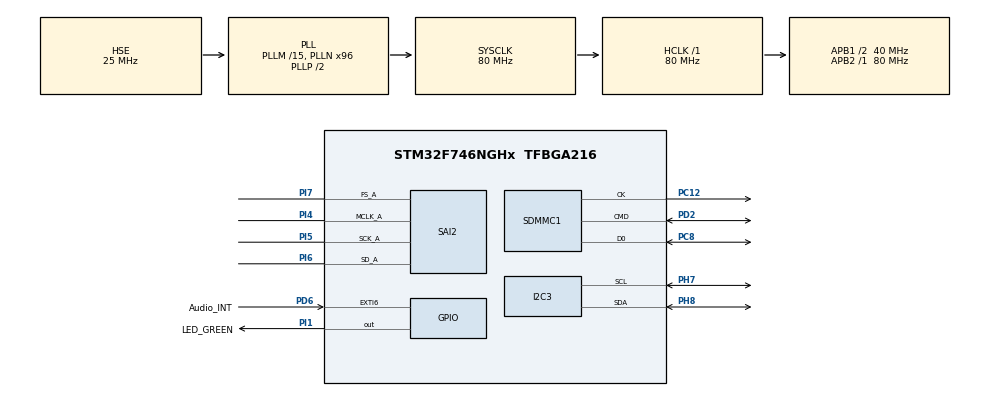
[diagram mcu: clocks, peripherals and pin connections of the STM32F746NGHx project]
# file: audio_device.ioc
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Dma.Request0=SDMMC1
Dma.SDMMC1.0.Direction=DMA_PERIPH_TO_MEMORY
Dma.SDMMC1.0.FIFOMode=DMA_FIFOMODE_ENABLE
Dma.SDMMC1.0.FIFOThreshold=DMA_FIFO_THRESHOLD_FULL
Dma.SDMMC1.0.Instance=DMA2_Stream3
Dma.SDMMC1.0.MemBurst=DMA_MBURST_INC4
Dma.SDMMC1.0.MemDataAlignment=DMA_MDATAALIGN_WORD
Dma.SDMMC1.0.MemInc=DMA_MINC_ENABLE
Dma.SDMMC1.0.Mode=DMA_PFCTRL
Dma.SDMMC1.0.PeriphBurst=DMA_PBURST_INC4
Dma.SDMMC1.0.PeriphDataAlignment=DMA_PDATAALIGN_WORD
Dma.SDMMC1.0.PeriphInc=DMA_PINC_DISABLE
Dma.SDMMC1.0.Priority=DMA_PRIORITY_LOW
FATFS.USE_DMA_CODE_SD=1
FATFS._FS_LOCK=10
FATFS._MAX_SS=1024
FATFS._MIN_SS=512
FATFS._USE_FIND=1
FATFS._USE_LFN=0
FATFS._USE_MUTEX=1
FREERTOS.BinarySemaphores01=DirReadSemaphore,Dynamic,NULL
FREERTOS.Mutexes01=FS_capture,Dynamic,NULL
FREERTOS.Tasks01=defaultTask,24,128,StartDefaultTask,Default,NULL,Dynamic,NULL,NULL;LedBlink,8,128,StartLedBlink,Default,NULL,Dynamic,NULL,NULL;FS_Task,8,1024,StartFS_Task,Default,NULL,Dynamic,NULL,NULL
FREERTOS.configUSE_NEWLIB_REENTRANT=1
I2C3.Timing=0x00909BEB
Mcu.Family=STM32F7
Mcu.Name=STM32F746NGHx
Mcu.Package=TFBGA216
NVIC.DMA2_Stream3_IRQn=true\:5\:0\:false\:false\:true\:true\:false\:true\:true
NVIC.PriorityGroup=NVIC_PRIORITYGROUP_4
NVIC.SAI2_IRQn=true\:5\:0\:false\:false\:true\:true\:true\:true\:true
NVIC.SDMMC1_IRQn=true\:5\:0\:false\:false\:true\:true\:true\:true\:true
NVIC.TIM1_UP_TIM10_IRQn=true\:5\:0\:false\:false\:true\:true\:true\:true\:true
PA13.Mode=Serial_Wire
PA13.Signal=SYS_JTMS-SWDIO
PA14.Mode=Serial_Wire
PA14.Signal=SYS_JTCK-SWCLK
PC12.Mode=SD_1_bit
PC12.Signal=SDMMC1_CK
PC14/OSC32_IN.Mode=LSE-External-Oscillator
PC14/OSC32_IN.Signal=RCC_OSC32_IN
PC15/OSC32_OUT.Mode=LSE-External-Oscillator
PC15/OSC32_OUT.Signal=RCC_OSC32_OUT
PC8.Mode=SD_1_bit
PC8.Signal=SDMMC1_D0
PD2.Mode=SD_1_bit
PD2.Signal=SDMMC1_CMD
PD6.GPIO_Label=Audio_INT
PD6.Signal=GPXTI6
PG10.Signal=SAI2_SD_B
PH0/OSC_IN.Mode=HSE-External-Oscillator
PH0/OSC_IN.Signal=RCC_OSC_IN
PH1/OSC_OUT.Mode=HSE-External-Oscillator
PH1/OSC_OUT.Signal=RCC_OSC_OUT
PH7.Mode=I2C
PH7.Signal=I2C3_SCL
PH8.Mode=I2C
PH8.Signal=I2C3_SDA
PI1.GPIO_Label=LED_GREEN
PI1.GPIO_Speed=GPIO_SPEED_FREQ_MEDIUM
PI1.PinState=GPIO_PIN_RESET
PI1.Signal=GPIO_Output
PI4.Mode=SAI_A_MasterWithClock
PI4.Signal=SAI2_MCLK_A
PI5.Mode=SAI_A_MasterWithClock
PI5.Signal=SAI2_SCK_A
PI6.Mode=SAI_A_MasterWithClock
PI6.Signal=SAI2_SD_A
PI7.Mode=SAI_A_MasterWithClock
PI7.Signal=SAI2_FS_A
ProjectManager.HeapSize=0x2000
ProjectManager.StackSize=0x10000
ProjectManager.TargetToolchain=STM32CubeIDE
RCC.AHBFreq_Value=80000000
RCC.APB1CLKDivider=RCC_HCLK_DIV2
RCC.APB1Freq_Value=40000000
RCC.APB1TimFreq_Value=80000000
RCC.APB2Freq_Value=80000000
RCC.APB2TimFreq_Value=80000000
RCC.CortexFreq_Value=80000000
RCC.HCLKFreq_Value=80000000
RCC.HSE_VALUE=25000000
RCC.HSI_VALUE=16000000
RCC.PLLM=15
RCC.PLLN=96
RCC.PLLQ=10
RCC.PLLSourceVirtual=RCC_PLLSOURCE_HSE
RCC.RTCClockSelection=RCC_RTCCLKSOURCE_LSE
RCC.SDMMCClockSelection=RCC_SDMMC1CLKSOURCE_CLK48
RCC.SYSCLKFreq_VALUE=80000000
RCC.SYSCLKSource=RCC_SYSCLKSOURCE_PLLCLK
RCC.USBFreq_Value=16000000
RCC.VCOOutputFreq_Value=160000000
SAI2.AudioFrequency-SAI_A_MasterWithClock=SAI_AUDIO_FREQUENCY_44K
SAI2.ErrorAudioFreq-SAI_A_MasterWithClock=1.45 %
SAI2.Instance-SAI_A_MasterWithClock=SAI$Index_Block_A
SAI2.MClockEnable-SAI_A_MasterWithClock=SAI_MASTERCLOCK_ENABLE
SAI2.OutputDrive-SAI_A_MasterWithClock=SAI_OUTPUTDRIVE_DISABLE
SAI2.RealAudioFreq-SAI_A_MasterWithClock=44.642 KHz
SAI2.VirtualMode-SAI_A_MasterWithClock=VM_MASTER
TIM1.Channel-Output\ Compare1\ No\ Output=TIM_CHANNEL_1
TIM1.Period=906
TIM1.Prescaler=2
VP_FATFS_VS_SDIO.Mode=SDIO
VP_FREERTOS_VS_CMSIS_V2.Mode=CMSIS_V2
VP_RTC_VS_RTC_Activate.Mode=RTC_Enabled
VP_TIM1_VS_no_output1.Mode=Output Compare1 No Output
board=custom

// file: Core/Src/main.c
/* USER CODE BEGIN Header */
/**
  ******************************************************************************
  * @file           : main.c
  * @brief          : Main program body
  ******************************************************************************
  * @attention
  *
  * Copyright (c) 2022 STMicroelectronics.
  * All rights reserved.
  *
  * This software is licensed under terms that can be found in the LICENSE file
  * in the root directory of this software component.
  * If no LICENSE file comes with this software, it is provided AS-IS.
  *
  ******************************************************************************
  */
/* USER CODE END Header */
#include "main.h"
#include "cmsis_os.h"
#include "fatfs.h"

/* USER CODE BEGIN Includes */
#include "WM8994_driver.h"
/* USER CODE END Includes */

I2C_HandleTypeDef hi2c3;

RTC_HandleTypeDef hrtc;

SAI_HandleTypeDef hsai_BlockA2;

SD_HandleTypeDef hsd1;
DMA_HandleTypeDef hdma_sdmmc1;

TIM_HandleTypeDef htim1;

/* Definitions for defaultTask */
osThreadId_t defaultTaskHandle;
const osThreadAttr_t defaultTask_attributes = {
  .name = "defaultTask",
  .stack_size = 128 * 4,
  .priority = (osPriority_t) osPriorityNormal,
};
/* Definitions for LedBlink */
osThreadId_t LedBlinkHandle;
const osThreadAttr_t LedBlink_attributes = {
  .name = "LedBlink",
  .stack_size = 128 * 4,
  .priority = (osPriority_t) osPriorityLow,
};
/* Definitions for FS_Task */
osThreadId_t FS_TaskHandle;
const osThreadAttr_t FS_Task_attributes = {
  .name = "FS_Task",
  .stack_size = 1024 * 4,
  .priority = (osPriority_t) osPriorityLow,
};
/* Definitions for FS_capture */
osMutexId_t FS_captureHandle;
const osMutexAttr_t FS_capture_attributes = {
  .name = "FS_capture"
};
/* Definitions for DirReadSemaphore */
osSemaphoreId_t DirReadSemaphoreHandle;
const osSemaphoreAttr_t DirReadSemaphore_attributes = {
  .name = "DirReadSemaphore"
};
/* USER CODE BEGIN PV */
FATFS FatFs; 	//Fatfs handle
/* USER CODE END PV */

void SystemClock_Config(void);
static void MX_GPIO_Init(void);
static void MX_SDMMC1_SD_Init(void);
static void MX_RTC_Init(void);
static void MX_SAI2_Init(void);
static void MX_DMA_Init(void);
static void MX_I2C3_Init(void);
static void MX_TIM1_Init(void);
void StartDefaultTask(void *argument);
void StartLedBlink(void *argument);
void StartFS_Task(void *argument);

int main(void)
{

  /* MCU Configuration--------------------------------------------------------*/

  /* Reset of all peripherals, Initializes the Flash interface and the Systick. */
  HAL_Init();

  /* Configure the system clock */
  SystemClock_Config();

  /* Initialize all configured peripherals */
  MX_GPIO_Init();
  MX_SDMMC1_SD_Init();
  MX_FATFS_Init();
  MX_RTC_Init();
  MX_SAI2_Init();
  MX_DMA_Init();
  MX_I2C3_Init();
  MX_TIM1_Init();
  /* USER CODE BEGIN 2 */
//  HAL_TIM_Base_Start_IT(&htim1);
  WM8994_init();
  /* USER CODE END 2 */

  /* Init scheduler */
  osKernelInitialize();
  /* Create the mutex(es) */
  /* creation of FS_capture */
  FS_captureHandle = osMutexNew(&FS_capture_attributes);

  /* Create the semaphores(s) */
  /* creation of DirReadSemaphore */
  DirReadSemaphoreHandle = osSemaphoreNew(1, 1, &DirReadSemaphore_attributes);

  /* Create the thread(s) */
  /* creation of defaultTask */
  defaultTaskHandle = osThreadNew(StartDefaultTask, NULL, &defaultTask_attributes);

  /* creation of LedBlink */
  LedBlinkHandle = osThreadNew(StartLedBlink, NULL, &LedBlink_attributes);

  /* creation of FS_Task */
  FS_TaskHandle = osThreadNew(StartFS_Task, NULL, &FS_Task_attributes);

  /* Start scheduler */
  osKernelStart();

  /* We should never get here as control is now taken by the scheduler */
  /* Infinite loop */
  while (1)
  {

  }
}

void SystemClock_Config(void)
{
  RCC_OscInitTypeDef RCC_OscInitStruct = {0};
  RCC_ClkInitTypeDef RCC_ClkInitStruct = {0};

  /** Configure LSE Drive Capability
  */
  HAL_PWR_EnableBkUpAccess();
  __HAL_RCC_LSEDRIVE_CONFIG(RCC_LSEDRIVE_LOW);

  /** Configure the main internal regulator output voltage
  */
  __HAL_RCC_PWR_CLK_ENABLE();
  __HAL_PWR_VOLTAGESCALING_CONFIG(PWR_REGULATOR_VOLTAGE_SCALE3);

  /** Initializes the RCC Oscillators according to the specified parameters
  * in the RCC_OscInitTypeDef structure.
  */
  RCC_OscInitStruct.OscillatorType = RCC_OSCILLATORTYPE_HSE|RCC_OSCILLATORTYPE_LSE;
  RCC_OscInitStruct.HSEState = RCC_HSE_ON;
  RCC_OscInitStruct.LSEState = RCC_LSE_ON;
  RCC_OscInitStruct.PLL.PLLState = RCC_PLL_ON;
  RCC_OscInitStruct.PLL.PLLSource = RCC_PLLSOURCE_HSE;
  RCC_OscInitStruct.PLL.PLLM = 15;
  RCC_OscInitStruct.PLL.PLLN = 96;
  RCC_OscInitStruct.PLL.PLLP = RCC_PLLP_DIV2;
  RCC_OscInitStruct.PLL.PLLQ = 10;
  if (HAL_RCC_OscConfig(&RCC_OscInitStruct) != HAL_OK)
  {
    Error_Handler();
  }

  /** Initializes the CPU, AHB and APB buses clocks
  */
  RCC_ClkInitStruct.ClockType = RCC_CLOCKTYPE_HCLK|RCC_CLOCKTYPE_SYSCLK
                              |RCC_CLOCKTYPE_PCLK1|RCC_CLOCKTYPE_PCLK2;
  RCC_ClkInitStruct.SYSCLKSource = RCC_SYSCLKSOURCE_PLLCLK;
  RCC_ClkInitStruct.AHBCLKDivider = RCC_SYSCLK_DIV1;
  RCC_ClkInitStruct.APB1CLKDivider = RCC_HCLK_DIV2;
  RCC_ClkInitStruct.APB2CLKDivider = RCC_HCLK_DIV1;

  if (HAL_RCC_ClockConfig(&RCC_ClkInitStruct, FLASH_LATENCY_2) != HAL_OK)
  {
    Error_Handler();
  }
}

static void MX_I2C3_Init(void)
{

  hi2c3.Instance = I2C3;
  hi2c3.Init.Timing = 0x00909BEB;
  hi2c3.Init.OwnAddress1 = 0;
  hi2c3.Init.AddressingMode = I2C_ADDRESSINGMODE_7BIT;
  hi2c3.Init.DualAddressMode = I2C_DUALADDRESS_DISABLE;
  hi2c3.Init.OwnAddress2 = 0;
  hi2c3.Init.OwnAddress2Masks = I2C_OA2_NOMASK;
  hi2c3.Init.GeneralCallMode = I2C_GENERALCALL_DISABLE;
  hi2c3.Init.NoStretchMode = I2C_NOSTRETCH_DISABLE;
  if (HAL_I2C_Init(&hi2c3) != HAL_OK)
  {
    Error_Handler();
  }

  /** Configure Analogue filter
  */
  if (HAL_I2CEx_ConfigAnalogFilter(&hi2c3, I2C_ANALOGFILTER_ENABLE) != HAL_OK)
  {
    Error_Handler();
  }

  /** Configure Digital filter
  */
  if (HAL_I2CEx_ConfigDigitalFilter(&hi2c3, 0) != HAL_OK)
  {
    Error_Handler();
  }

}

static void MX_RTC_Init(void)
{

  /** Initialize RTC Only
  */
  hrtc.Instance = RTC;
  hrtc.Init.HourFormat = RTC_HOURFORMAT_24;
  hrtc.Init.AsynchPrediv = 127;
  hrtc.Init.SynchPrediv = 255;
  hrtc.Init.OutPut = RTC_OUTPUT_DISABLE;
  hrtc.Init.OutPutPolarity = RTC_OUTPUT_POLARITY_HIGH;
  hrtc.Init.OutPutType = RTC_OUTPUT_TYPE_OPENDRAIN;
  if (HAL_RTC_Init(&hrtc) != HAL_OK)
  {
    Error_Handler();
  }

}

static void MX_SAI2_Init(void)
{

  hsai_BlockA2.Instance = SAI2_Block_A;
  hsai_BlockA2.Init.Protocol = SAI_FREE_PROTOCOL;
  hsai_BlockA2.Init.AudioMode = SAI_MODEMASTER_TX;
  hsai_BlockA2.Init.DataSize = SAI_DATASIZE_8;
  hsai_BlockA2.Init.FirstBit = SAI_FIRSTBIT_MSB;
  hsai_BlockA2.Init.ClockStrobing = SAI_CLOCKSTROBING_FALLINGEDGE;
  hsai_BlockA2.Init.Synchro = SAI_ASYNCHRONOUS;
  hsai_BlockA2.Init.OutputDrive = SAI_OUTPUTDRIVE_DISABLE;
  hsai_BlockA2.Init.NoDivider = SAI_MASTERDIVIDER_ENABLE;
  hsai_BlockA2.Init.FIFOThreshold = SAI_FIFOTHRESHOLD_EMPTY;
  hsai_BlockA2.Init.AudioFrequency = SAI_AUDIO_FREQUENCY_44K;
  hsai_BlockA2.Init.SynchroExt = SAI_SYNCEXT_DISABLE;
  hsai_BlockA2.Init.MonoStereoMode = SAI_STEREOMODE;
  hsai_BlockA2.Init.CompandingMode = SAI_NOCOMPANDING;
  hsai_BlockA2.Init.TriState = SAI_OUTPUT_NOTRELEASED;
  hsai_BlockA2.FrameInit.FrameLength = 8;
  hsai_BlockA2.FrameInit.ActiveFrameLength = 1;
  hsai_BlockA2.FrameInit.FSDefinition = SAI_FS_STARTFRAME;
  hsai_BlockA2.FrameInit.FSPolarity = SAI_FS_ACTIVE_LOW;
  hsai_BlockA2.FrameInit.FSOffset = SAI_FS_FIRSTBIT;
  hsai_BlockA2.SlotInit.FirstBitOffset = 0;
  hsai_BlockA2.SlotInit.SlotSize = SAI_SLOTSIZE_DATASIZE;
  hsai_BlockA2.SlotInit.SlotNumber = 1;
  hsai_BlockA2.SlotInit.SlotActive = 0x00000000;
  if (HAL_SAI_Init(&hsai_BlockA2) != HAL_OK)
  {
    Error_Handler();
  }

}

static void MX_SDMMC1_SD_Init(void)
{

  hsd1.Instance = SDMMC1;
  hsd1.Init.ClockEdge = SDMMC_CLOCK_EDGE_RISING;
  hsd1.Init.ClockBypass = SDMMC_CLOCK_BYPASS_DISABLE;
  hsd1.Init.ClockPowerSave = SDMMC_CLOCK_POWER_SAVE_DISABLE;
  hsd1.Init.BusWide = SDMMC_BUS_WIDE_1B;
  hsd1.Init.HardwareFlowControl = SDMMC_HARDWARE_FLOW_CONTROL_DISABLE;
  hsd1.Init.ClockDiv = 0;

}

static void MX_TIM1_Init(void)
{

  TIM_MasterConfigTypeDef sMasterConfig = {0};
  TIM_OC_InitTypeDef sConfigOC = {0};
  TIM_BreakDeadTimeConfigTypeDef sBreakDeadTimeConfig = {0};

  htim1.Instance = TIM1;
  htim1.Init.Prescaler = 2;
  htim1.Init.CounterMode = TIM_COUNTERMODE_UP;
  htim1.Init.Period = 906;
  htim1.Init.ClockDivision = TIM_CLOCKDIVISION_DIV1;
  htim1.Init.RepetitionCounter = 0;
  htim1.Init.AutoReloadPreload = TIM_AUTORELOAD_PRELOAD_DISABLE;
  if (HAL_TIM_OC_Init(&htim1) != HAL_OK)
  {
    Error_Handler();
  }
  sMasterConfig.MasterOutputTrigger = TIM_TRGO_RESET;
  sMasterConfig.MasterOutputTrigger2 = TIM_TRGO2_RESET;
  sMasterConfig.MasterSlaveMode = TIM_MASTERSLAVEMODE_DISABLE;
  if (HAL_TIMEx_MasterConfigSynchronization(&htim1, &sMasterConfig) != HAL_OK)
  {
    Error_Handler();
  }
  sConfigOC.OCMode = TIM_OCMODE_TIMING;
  sConfigOC.Pulse = 0;
  sConfigOC.OCPolarity = TIM_OCPOLARITY_HIGH;
  sConfigOC.OCNPolarity = TIM_OCNPOLARITY_HIGH;
  sConfigOC.OCFastMode = TIM_OCFAST_DISABLE;
  sConfigOC.OCIdleState = TIM_OCIDLESTATE_RESET;
  sConfigOC.OCNIdleState = TIM_OCNIDLESTATE_RESET;
  if (HAL_TIM_OC_ConfigChannel(&htim1, &sConfigOC, TIM_CHANNEL_1) != HAL_OK)
  {
    Error_Handler();
  }
  sBreakDeadTimeConfig.OffStateRunMode = TIM_OSSR_DISABLE;
  sBreakDeadTimeConfig.OffStateIDLEMode = TIM_OSSI_DISABLE;
  sBreakDeadTimeConfig.LockLevel = TIM_LOCKLEVEL_OFF;
  sBreakDeadTimeConfig.DeadTime = 0;
  sBreakDeadTimeConfig.BreakState = TIM_BREAK_DISABLE;
  sBreakDeadTimeConfig.BreakPolarity = TIM_BREAKPOLARITY_HIGH;
  sBreakDeadTimeConfig.BreakFilter = 0;
  sBreakDeadTimeConfig.Break2State = TIM_BREAK2_DISABLE;
  sBreakDeadTimeConfig.Break2Polarity = TIM_BREAK2POLARITY_HIGH;
  sBreakDeadTimeConfig.Break2Filter = 0;
  sBreakDeadTimeConfig.AutomaticOutput = TIM_AUTOMATICOUTPUT_DISABLE;
  if (HAL_TIMEx_ConfigBreakDeadTime(&htim1, &sBreakDeadTimeConfig) != HAL_OK)
  {
    Error_Handler();
  }

}

static void MX_DMA_Init(void)
{

  /* DMA controller clock enable */
  __HAL_RCC_DMA2_CLK_ENABLE();

  /* DMA interrupt init */
  /* DMA2_Stream3_IRQn interrupt configuration */
  HAL_NVIC_SetPriority(DMA2_Stream3_IRQn, 5, 0);
  HAL_NVIC_EnableIRQ(DMA2_Stream3_IRQn);

}

static void MX_GPIO_Init(void)
{
  GPIO_InitTypeDef GPIO_InitStruct = {0};

  /* GPIO Ports Clock Enable */
  __HAL_RCC_GPIOC_CLK_ENABLE();
  __HAL_RCC_GPIOA_CLK_ENABLE();
  __HAL_RCC_GPIOD_CLK_ENABLE();
  __HAL_RCC_GPIOI_CLK_ENABLE();
  __HAL_RCC_GPIOG_CLK_ENABLE();
  __HAL_RCC_GPIOH_CLK_ENABLE();

  /*Configure GPIO pin Output Level */
  HAL_GPIO_WritePin(LED_GREEN_GPIO_Port, LED_GREEN_Pin, GPIO_PIN_RESET);

  /*Configure GPIO pin : Audio_INT_Pin */
  GPIO_InitStruct.Pin = Audio_INT_Pin;
  GPIO_InitStruct.Mode = GPIO_MODE_IT_RISING;
  GPIO_InitStruct.Pull = GPIO_NOPULL;
  HAL_GPIO_Init(Audio_INT_GPIO_Port, &GPIO_InitStruct);

  /*Configure GPIO pin : LED_GREEN_Pin */
  GPIO_InitStruct.Pin = LED_GREEN_Pin;
  GPIO_InitStruct.Mode = GPIO_MODE_OUTPUT_PP;
  GPIO_InitStruct.Pull = GPIO_NOPULL;
  GPIO_InitStruct.Speed = GPIO_SPEED_FREQ_MEDIUM;
  HAL_GPIO_Init(LED_GREEN_GPIO_Port, &GPIO_InitStruct);

}

void StartDefaultTask(void *argument)
{
  for(;;)
  {
    osDelay(1);
  }
}

void StartLedBlink(void *argument)
{
  /* USER CODE BEGIN StartLedBlink */
  /* Infinite loop */
  for(;;)
  {
    osDelay(1000);
    HAL_GPIO_WritePin(LED_GREEN_GPIO_Port, LED_GREEN_Pin, 1 ^ HAL_GPIO_ReadPin(LED_GREEN_GPIO_Port, LED_GREEN_Pin));
    osSemaphoreRelease(DirReadSemaphoreHandle);
  }
  /* USER CODE END StartLedBlink */
}

void StartFS_Task(void *argument)
{
  /* USER CODE BEGIN StartFS_Task */
	FIL fil; 		//File handle
	FIL fil_2;
	fil_2 = fil;
	FILINFO fno; // Fileinfo
	FRESULT fres; //Result after operations
	BYTE work[1024]; /* Work area (larger is better for processing time) */
	DIR directory;

	osMutexAcquire(FS_captureHandle, 0u);
	fres = f_mount(&FatFs, "", 1); //1=mount now
	if (fres != FR_OK) {
		/* Capture error */
	}
	osMutexRelease(FS_captureHandle);

  /* Infinite loop */

  for(;;)
  {
	  if(osSemaphoreAcquire(DirReadSemaphoreHandle, 0u) == osOK){
		  osMutexAcquire(FS_captureHandle, 0u);
		  fres = f_opendir (&directory, "MUSIC");
		  osMutexRelease(FS_captureHandle);
	  }

	  osMutexAcquire(FS_captureHandle, 0u);
	  fres = f_readdir(&directory, &fno);
	  osMutexRelease(FS_captureHandle);
	  osDelay(100);
  }
  /* USER CODE END StartFS_Task */
}

void Error_Handler(void)
{
  __disable_irq();
  while (1)
  {
  }
}
